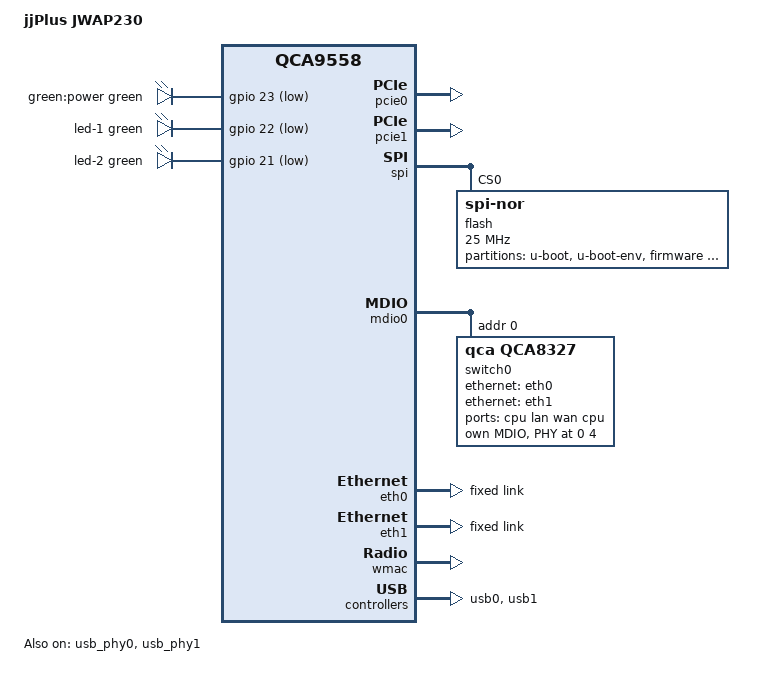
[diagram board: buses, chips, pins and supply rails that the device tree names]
// SPDX-License-Identifier: GPL-2.0-or-later OR MIT

#include "qca955x.dtsi"

#include <dt-bindings/gpio/gpio.h>
#include <dt-bindings/input/input.h>
#include <dt-bindings/leds/common.h>

/ {
	model = "jjPlus JWAP230";
	compatible = "jjplus,jwap230", "qca,qca9558";

	aliases {
		led-boot = &led_power;
		led-failsafe = &led_power;
		led-running = &led_power;
		led-upgrade = &led_power;
	};

	leds {
		compatible = "gpio-leds";

		led_power: led-0 {
			label = "green:power";
			color = <LED_COLOR_ID_GREEN>;
			function = LED_FUNCTION_POWER;
			gpios = <&gpio 23 GPIO_ACTIVE_LOW>;
		};

		led-1 {
			color = <LED_COLOR_ID_GREEN>;
			function-enumerator = <0>;
			gpios = <&gpio 22 GPIO_ACTIVE_LOW>;
		};

		led-2 {
			color = <LED_COLOR_ID_GREEN>;
			function-enumerator = <1>;
			gpios = <&gpio 21 GPIO_ACTIVE_LOW>;
		};
	};
};

&pcie0 {
	status = "okay";
};

&pcie1 {
	status = "okay";
};

&spi {
	status = "okay";

	flash@0 {
		compatible = "jedec,spi-nor";
		reg = <0>;
		spi-max-frequency = <25000000>;

		partitions {
			compatible = "fixed-partitions";
			#address-cells = <1>;
			#size-cells = <1>;

			partition@0 {
				label = "u-boot";
				reg = <0x000000 0x040000>;
				read-only;
			};

			partition@40000 {
				label = "u-boot-env";
				reg = <0x040000 0x010000>;
			};

			partition@50000 {
				compatible = "denx,uimage";
				label = "firmware";
				reg = <0x050000 0xfa0000>;
			};

			art: partition@ff0000 {
				label = "art";
				reg = <0xff0000 0x010000>;
				read-only;

				compatible = "nvmem-cells";
				#address-cells = <1>;
				#size-cells = <1>;

				macaddr_art_lan: macaddr@0 {
					reg = <0x0 0x6>;
				};

				macaddr_art_wan: macaddr@6 {
					reg = <0x6 0x6>;
				};

				calibration_art_wlan: calibration@1000 {
					reg = <0x1000 0x440>;
				};
			};
		};
	};
};

&mdio0 {
	status = "okay";

	switch0@10 {
		compatible = "qca,qca8327";
		#address-cells = <1>;
		#size-cells = <0>;

		reg = <0>;

		ports {
			#address-cells = <1>;
			#size-cells = <0>;

			port@0 {
				reg = <0>;
				label = "cpu";
				ethernet = <&eth0>;
				phy-mode = "rgmii-id";

				fixed-link {
					speed = <1000>;
					full-duplex;
				};
			};

			port@1 {
				reg = <1>;
				label = "lan";
				phy-mode = "internal";
				phy-handle = <&phy_port1>;
			};

			port@5 {
				reg = <5>;
				label = "wan";
				phy-mode = "internal";
				phy-handle = <&phy_port5>;
			};

			port@6 {
				reg = <6>;
				label = "cpu";
				ethernet = <&eth1>;
				phy-mode = "sgmii";
				qca,sgmii-rxclk-falling-edge;

				fixed-link {
					speed = <1000>;
					full-duplex;
				};
			};
		};

		mdio {
			#address-cells = <1>;
			#size-cells = <0>;

			phy_port1: phy@0 {
				reg = <0>;
			};

			phy_port5: phy@4 {
				reg = <4>;
			};
		};
	};
};

&eth0 {
	status = "okay";

	nvmem-cells = <&macaddr_art_wan>;
	nvmem-cell-names = "mac-address";

	pll-data = <0xae000000 0x80000101 0x80001313>;

	fixed-link {
		speed = <1000>;
		full-duplex;
	};

	gmac_config: gmac-config {
		device = <&gmac>;

		rxdv-delay = <3>;
		rxd-delay = <3>;
		txen-delay = <0>;
		txd-delay = <0>;
		rgmii-enabled = <1>;
	};
};

&eth1 {
	status = "okay";

	nvmem-cells = <&macaddr_art_lan>;
	nvmem-cell-names = "mac-address";

	pll-data = <0x03000101 0x00000101 0x00001313>;

	fixed-link {
		speed = <1000>;
		full-duplex;
	};
};

&wmac {
	status = "okay";
	nvmem-cells = <&calibration_art_wlan>;
	nvmem-cell-names = "calibration";
};

&usb_phy0 {
	status = "okay";
};

&usb0 {
	status = "okay";
};

&usb_phy1 {
	status = "okay";
};

&usb1 {
	status = "okay";
};
